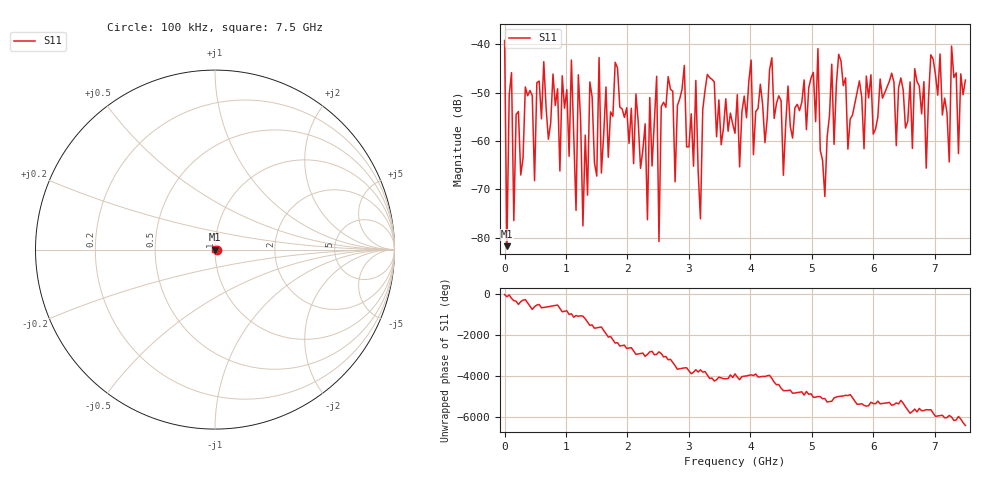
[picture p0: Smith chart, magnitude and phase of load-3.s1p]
# Hz S DB R 50.000000
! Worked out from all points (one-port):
!   201 points, 100 kHz to 7.5 GHz, reference 50 ohm
!   lowest |S11| = -81.7 dB at 37.6 MHz (marker M1), VSWR 1.00, Z = 50 - j0.00616 ohm
!   |S11| at or under -10 dB: start of sweep to end of sweep
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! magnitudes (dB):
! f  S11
! 100 kHz  -39.2
! 37.6 MHz  -81.7
! 112.6 MHz  -45.9
! 150.1 MHz  -76.4
! 187.6 MHz  -54.5
! 637.6 MHz  -43.6
! 900.1 MHz  -66.2
! 937.6 MHz  -46.5
! 1.05 GHz  -63.2
! 1.088 GHz  -43.3
! 1.163 GHz  -74.3
! 1.2 GHz  -46.3
! 1.275 GHz  -77.5
! 1.388 GHz  -47.8
! 1.875 GHz  -53.0
! 2.325 GHz  -76.3
! 2.475 GHz  -46.6
! 2.513 GHz  -80.8
! 2.55 GHz  -52.9
! 2.813 GHz  -52.7
! 3.113 GHz  -47.5
! 3.188 GHz  -76.1
! 3.3 GHz  -46.3
! 3.75 GHz  -58.4
! 4.687 GHz  -59.4
! 5.625 GHz  -55.5
! 6.562 GHz  -55.9
! 7.5 GHz  -47.4
